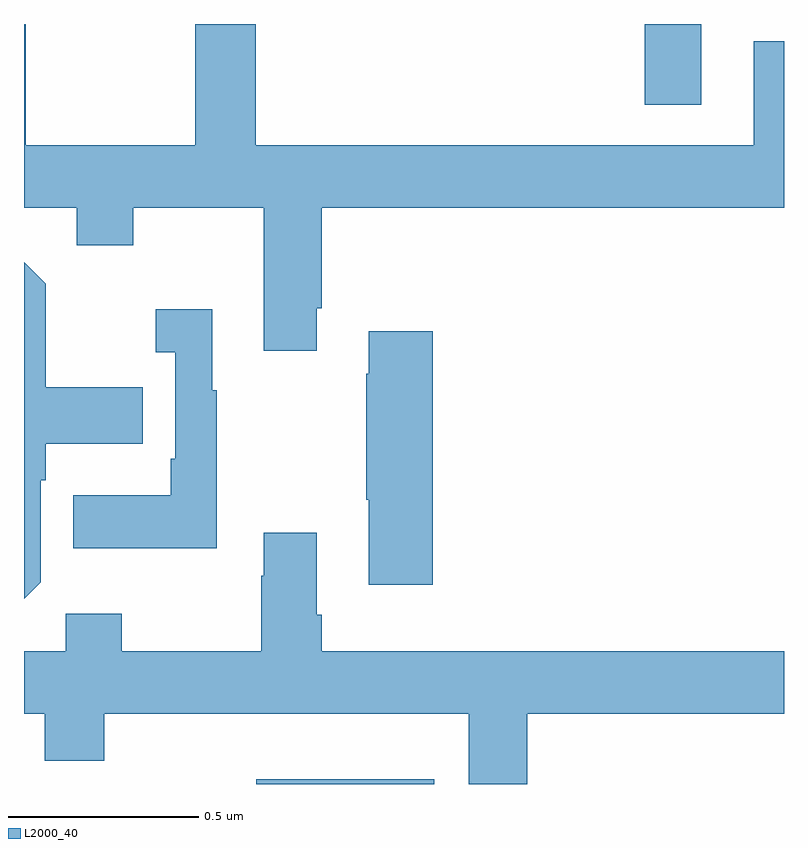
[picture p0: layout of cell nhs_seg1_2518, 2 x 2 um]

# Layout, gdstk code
import gdstk
lib = gdstk.Library(unit=1e-6, precision=1e-09)
def R(c, l, rs):  # rectangles x0, y0, x1, y1
    for r in rs: c.add(gdstk.rectangle(r[:2], r[2:], *l))
def P(c, l, *ps):  # polygons
    for p in ps: c.add(gdstk.Polygon(p, *l))
L2000_40 = (2000, 40)

nhs_seg1_2518 = lib.new_cell('nhs_seg1_2518')
R(nhs_seg1_2518, L2000_40, [(142.611,566.199,143.08,566.212), (143.633,567.987,143.782,568.199)])
P(nhs_seg1_2518, L2000_40, [(142.771,567.451),(142.784,567.451),(142.784,567.716),(144,567.716),(144,568.153),(143.921,568.153),(143.921,567.88),(142.61,567.88),(142.61,568.199),(142.45,568.199),(142.45,567.88),(142.005,567.88),(142.005,568.199),(142,568.199),(142,567.716),(142.139,567.716),(142.139,567.617),(142.287,567.617),(142.287,567.716),(142.631,567.716),(142.631,567.339),(142.771,567.339)],
  [(142.044,566.73),(142.044,566.999),(142.057,566.999),(142.057,567.095),(142.313,567.095),(142.313,567.243),(142.057,567.243),(142.057,567.515),(142,567.572),(142,566.686)],
  [(142.507,567.235),(142.495,567.235),(142.495,567.448),(142.347,567.448),(142.347,567.335),(142.398,567.335),(142.398,567.055),(142.386,567.055),(142.386,566.959),(142.129,566.959),(142.129,566.819),(142.507,566.819)],
  [(143.075,567.391),(142.907,567.391),(142.907,567.278),(142.9,567.278),(142.9,566.947),(142.907,566.947),(142.907,566.724),(143.075,566.724)],
  [(143.324,566.384),(144,566.384),(144,566.548),(142.784,566.548),(142.784,566.644),(142.771,566.644),(142.771,566.86),(142.631,566.86),(142.631,566.747),(142.624,566.747),(142.624,566.548),(142.257,566.548),(142.257,566.647),(142.11,566.647),(142.11,566.548),(142,566.548),(142,566.384),(142.055,566.384),(142.055,566.26),(142.211,566.26),(142.211,566.384),(143.171,566.384),(143.171,566.199),(143.324,566.199)])

lib.write_gds('nhs_seg1_2518.gds')
